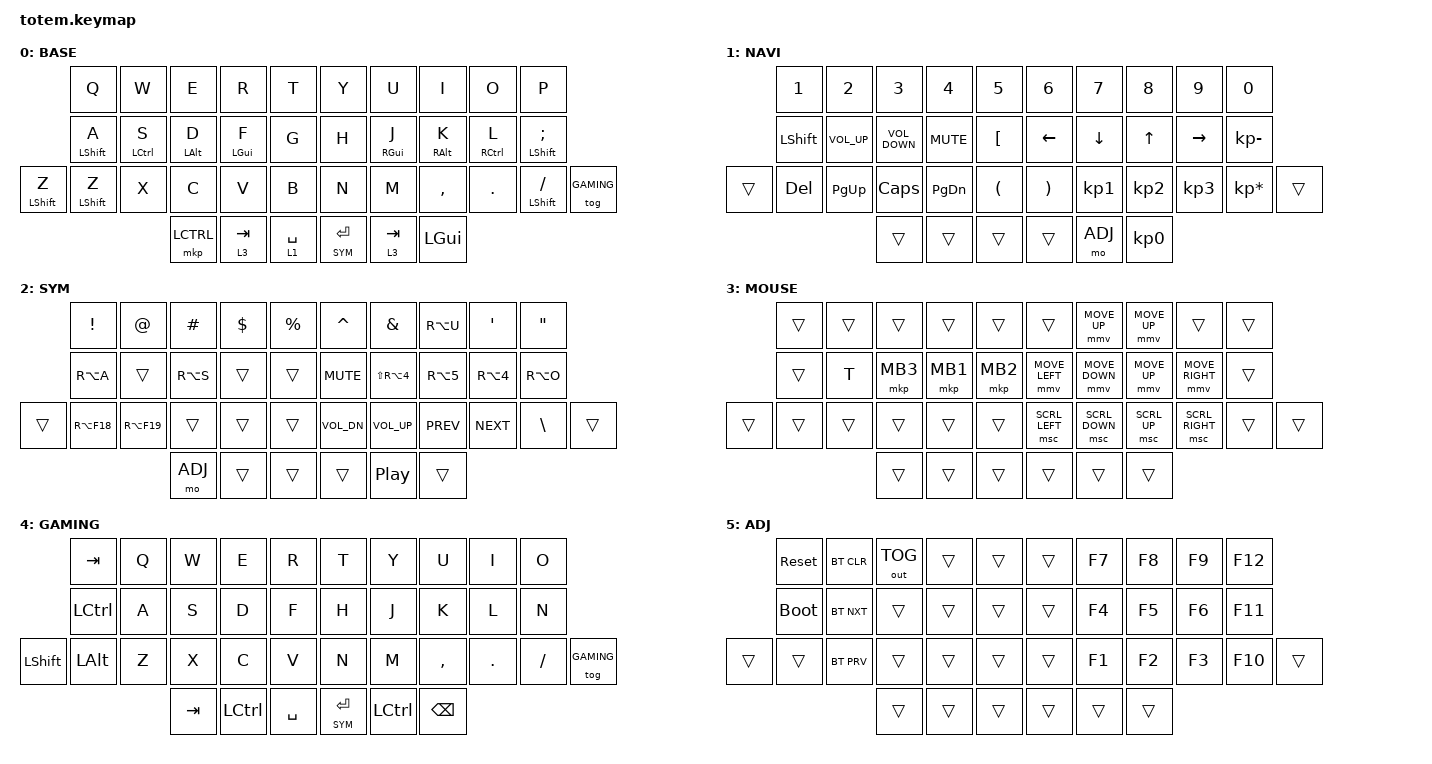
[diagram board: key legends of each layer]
//
//                                                        ▀▀▀▀▀     ▀▀▀▀▀          ▀▀█▀▀
//                                                        ▄▀▀▀▄  ▄  ▄▀▀▀▄  ▄  ▄▀▀▀▄  █  ▄▀▀▀▄
//                                                        █   █  █  █   █  █  █   █  █  █   █
//                                                         ▀▀▀   █   ▀▀▀   █   ▀▀▀   ▀   ▀▀▀
//                                                               █      ▄▄▄█▄▄▄    █   █  
//                                                               ▀      █  █  █     █▄█
//                                                             ▀▀▀▀▀    █  █  █      ▀
//                                                                      ▀  ▀  ▀
//
// ▄▄▄▄▄▄▄▄▄▄▄▄▄▄▄▄▄▄▄▄▄▄▄▄▄▄▄▄▄▄▄▄▄▄▄▄▄▄▄▄▄▄▄▄▄▄▄▄▄▄▄▄▄▄▄▄▄▄▄▄▄▄▄▄▄▄▄▄▄▄▄▄▄▄▄▄▄▄▄▄▄▄▄▄▄▄▄▄▄▄▄▄▄▄▄▄▄▄▄▄▄▄▄▄▄▄▄▄▄▄▄▄▄▄▄▄▄▄▄▄▄▄▄▄▄▄▄▄▄▄▄▄▄▄▄▄▄▄▄▄▄▄▄▄▄▄▄▄▄

#include <behaviors.dtsi>
#include <dt-bindings/zmk/bt.h>
#include <dt-bindings/zmk/keys.h>
#include <dt-bindings/zmk/outputs.h>


// mouse
#define ZMK_POINTING_DEFAULT_MOVE_VAL 600  // default: 600
#define ZMK_POINTING_DEFAULT_SCRL_VAL 20    // default: 10

#include <dt-bindings/zmk/pointing.h>




#define BASE 0
#define NAVI  1
#define SYM  2
#define MOUSE 3
#define GAMING 4
#define ADJ  5

&mt {
    flavor = "balanced";
    tapping-term-ms = <280>;
    quick-tap-ms = <175>;
    require-prior-idle-ms = <150>;
    // bindings = <&kp>, <&kp>;
};

&msc {
    acceleration-exponent = <1>;
};

&mmv {
    x-input-code = <INPUT_REL_X>;
    y-input-code = <INPUT_REL_Y>;
    time-to-max-speed-ms = <300>;
    acceleration-exponent = <1>;
};
// Number to build combo
//             ┏━━━━━━━━━━━┳━━━━━━━━━━━┳━━━━━━━━━━━┳━━━━━━━━━━━┳━━━━━━━━━━━┓   ┏━━━━━━━━━━━┳━━━━━━━━━━━┳━━━━━━━━━━━┳━━━━━━━━━━━┳━━━━━━━━━━━┓
//             ┃     0     ┃     1     ┃     2     ┃     3     ┃     4     ┃   ┃     5     ┃     6     ┃     7     ┃     8     ┃     9     ┃
//             ╋━━━━━━━━━━━╋━━━━━━━━━━━╋━━━━━━━━━━━╋━━━━━━━━━━━╋━━━━━━━━━━━┫   ┣━━━━━━━━━━━╋━━━━━━━━━━━╋━━━━━━━━━━━╋━━━━━━━━━━━╋━━━━━━━━━━━╋
//             ┃     10    ┃     11    ┃     12    ┃     13    ┃     14    ┃   ┃     15    ┃     16    ┃     17    ┃     18    ┃     19    ┃
// ┏━━━━━━━━━━━╋━━━━━━━━━━━╋━━━━━━━━━━━╋━━━━━━━━━━━╋━━━━━━━━━━━╋━━━━━━━━━━━┫   ┣━━━━━━━━━━━╋━━━━━━━━━━━╋━━━━━━━━━━━╋━━━━━━━━━━━╋━━━━━━━━━━━╋━━━━━━━━━━━┓
// ┃     20    ┃     21    ┃     22    ┃     23    ┃     24    ┃     25    ┃   ┃     26    ┃     27    ┃     28    ┃     29    ┃     30    ┃       31  ┃
// ┗━━━━━━━━━━━┻━━━━━━━━━━━┻━━━━━━━━━━━╋━━━━━━━━━━━╋━━━━━━━━━━━╋━━━━━━━━━━━┫   ┣━━━━━━━━━━━╋━━━━━━━━━━━╋━━━━━━━━━━━╋━━━━━━━━━━━┻━━━━━━━━━━━┻━━━━━━━━━━━┛
//                                     ┃     32    ┃     33    ┃     34    ┃   ┃     35    ┃     36    ┃     37    ┃
//                                     ┗━━━━━━━━━━━┻━━━━━━━━━━━┻━━━━━━━━━━━┛   ┗━━━━━━━━━━━┻━━━━━━━━━━━┻━━━━━━━━━━━┛
/ {
    combos {
        compatible = "zmk,combos";

        combo_tab {
            timeout-ms = <50>;
            key-positions = <11 13>;
            bindings = <&kp TAB>;
        };

        combo_minus {
            timeout-ms = <50>;
            key-positions = <23 24>;
            bindings = <&kp MINUS>;
        };
        combo_plus {
            timeout-ms = <50>;
            key-positions = <27 28>;
            bindings = <&kp EQUAL>;
        };
        combo_esc {
            timeout-ms = <50>;
            key-positions = <12 13>;
            bindings = <&kp ESC>;
        };

        combo_backspace {
            timeout-ms = <50>;
            key-positions = <16 17>;
            bindings = <&kp BSPC>;
        };
    };

    keymap {
        compatible = "zmk,keymap";

        // ▄▄▄▄▄▄▄▄▄▄▄▄▄▄▄▄▄▄▄▄▄▄▄▄▄▄▄▄▄▄▄▄▄▄▄▄▄▄▄▄▄▄▄▄▄▄▄▄▄▄▄▄▄▄▄▄▄▄▄▄▄▄▄▄▄▄▄▄▄▄▄▄▄▄▄▄▄▄▄▄▄▄▄▄▄▄▄▄▄▄▄▄▄▄▄▄▄▄▄▄▄▄▄▄▄▄▄▄▄▄▄▄▄▄▄▄▄▄▄▄▄▄▄▄▄▄▄▄▄▄▄▄▄▄▄▄▄▄▄▄▄▄▄▄▄▄▄▄▄

        base_layer {
            // ┏━━━━━━━━━━━━━━━━━━━━━━━━━━━━━━━━━━━━━━━┓
               label = "BASE"                          ;
            // ┗━━━━━━━━━━━━━━━━━━━━━━━━━━━━━━━━━━━━━━━┛
            //             ┏━━━━━━━━━━━┳━━━━━━━━━━━┳━━━━━━━━━━━┳━━━━━━━━━━━┳━━━━━━━━━━━┓   ┏━━━━━━━━━━━┳━━━━━━━━━━━┳━━━━━━━━━━━┳━━━━━━━━━━━┳━━━━━━━━━━━┓
            //             ┃     Q     ┃     W     ┃     E     ┃     R     ┃     T     ┃   ┃     Y     ┃     U     ┃     I     ┃     o     ┃     p     ┃
            //             ┣━━━━━━━━━━━╋━━━━━━━━━━━╋━━━━━━━━━━━╋━━━━━━━━━━━╋━━━━━━━━━━━┫   ┣━━━━━━━━━━━╋━━━━━━━━━━━╋━━━━━━━━━━━╋━━━━━━━━━━━╋━━━━━━━━━━━┫
            //             ┃     A     ┃     s     ┃     D     ┃     f     ┃     g     ┃   ┃     h     ┃     j     ┃     k     ┃     l     ┃     m     ┃
            // ┏━━━━━━━━━━━╋━━━━━━━━━━━╋━━━━━━━━━━━╋━━━━━━━━━━━╋━━━━━━━━━━━╋━━━━━━━━━━━┫   ┣━━━━━━━━━━━╋━━━━━━━━━━━╋━━━━━━━━━━━╋━━━━━━━━━━━╋━━━━━━━━━━━╋━━━━━━━━━━━┓
            // ┃     q     ┃     z     ┃     x     ┃     c     ┃     V     ┃     B     ┃   ┃     n     ┃     m     ┃     ,     ┃     .     ┃     /     ┃   GAM     ┃
            // ┗━━━━━━━━━━━┻━━━━━━━━━━━┻━━━━━━━━━━━╋━━━━━━━━━━━╋━━━━━━━━━━━╋━━━━━━━━━━━┫   ┣━━━━━━━━━━━╋━━━━━━━━━━━╋━━━━━━━━━━━╋━━━━━━━━━━━┻━━━━━━━━━━━┻━━━━━━━━━━━┛
            //                                     ┃           ┃    TAB    ┃    SPC    ┃   ┃   ENTER   ┃   BSPC    ┃           ┃
            //                                     ┗━━━━━━━━━━━┻━━━━━━━━━━━┻━━━━━━━━━━━┛   ┗━━━━━━━━━━━┻━━━━━━━━━━━┻━━━━━━━━━━━┛

            bindings = <
              &kp Q         &kp W       &kp E       &kp R       &kp T          &kp Y        &kp U       &kp I       &kp O       &kp P
              &mt LSHIFT A   &mt LCTRL S  &mt LALT D  &mt LGUI F  &kp G          &kp H        &mt RGUI J  &mt RALT K  &mt RCTRL L  &mt LSHIFT SEMI
&mt LSHIFT Z  &mt LSHIFT Z  &kp X       &kp C       &kp V       &kp B          &kp N        &kp M       &kp COMMA   &kp DOT     &mt LSHIFT FSLH  &tog GAMING
                                        &mkp LCTRL   &lt 3 TAB   &lt 1 SPACE    &lt SYM RET  &lt 3 TAB   &kp LGUI
            >;
        };

        // ▄▄▄▄▄▄▄▄▄▄▄▄▄▄▄▄▄▄▄▄▄▄▄▄▄▄▄▄▄▄▄▄▄▄▄▄▄▄▄▄▄▄▄▄▄▄▄▄▄▄▄▄▄▄▄▄▄▄▄▄▄▄▄▄▄▄▄▄▄▄▄▄▄▄▄▄▄▄▄▄▄▄▄▄▄▄▄▄▄▄▄▄▄▄▄▄▄▄▄▄▄▄▄▄▄▄▄▄▄▄▄▄▄▄▄▄▄▄▄▄▄▄▄▄▄▄▄▄▄▄▄▄▄▄▄▄▄▄▄▄▄▄▄▄▄▄▄▄▄

        navi_layer {
            // ┏━━━━━━━━━━━━━━━━━━━━━━━━━━━━━━━━━━━━━━━┓
               label = "NAVI"                          ;
            // ┗━━━━━━━━━━━━━━━━━━━━━━━━━━━━━━━━━━━━━━━┛
            //             ┏━━━━━━━━━━━┳━━━━━━━━━━━┳━━━━━━━━━━━┳━━━━━━━━━━━┳━━━━━━━━━━━┓   ┏━━━━━━━━━━━┳━━━━━━━━━━━┳━━━━━━━━━━━┳━━━━━━━━━━━┳━━━━━━━━━━━┓
            //             ┃           ┃           ┃     UP    ┃           ┃     {     ┃   ┃     }     ┃     7     ┃     8     ┃     9     ┃     +     ┃
            //             ┣━━━━━━━━━━━╋━━━━━━━━━━━╋━━━━━━━━━━━╋━━━━━━━━━━━╋━━━━━━━━━━━┫   ┣━━━━━━━━━━━╋━━━━━━━━━━━╋━━━━━━━━━━━╋━━━━━━━━━━━╋━━━━━━━━━━━┫
            //             ┃   SHIFT   ┃   LEFT    ┃    DOWN   ┃   RIGHT   ┃     [     ┃   ┃     ]     ┃     4     ┃     5     ┃     6     ┃     -     ┃
            // ┏━━━━━━━━━━━╋━━━━━━━━━━━╋━━━━━━━━━━━╋━━━━━━━━━━━╋━━━━━━━━━━━╋━━━━━━━━━━━┫   ┣━━━━━━━━━━━╋━━━━━━━━━━━╋━━━━━━━━━━━╋━━━━━━━━━━━╋━━━━━━━━━━━╋━━━━━━━━━━━┓
            // ┃           ┃           ┃   P UP    ┃  C LOCK   ┃  P DOWN   ┃     (     ┃   ┃     )     ┃     1     ┃     2     ┃     3     ┃     *     ┃           ┃
            // ┗━━━━━━━━━━━┻━━━━━━━━━━━┻━━━━━━━━━━━╋━━━━━━━━━━━╋━━━━━━━━━━━╋━━━━━━━━━━━┫   ┣━━━━━━━━━━━╋━━━━━━━━━━━╋━━━━━━━━━━━╋━━━━━━━━━━━┻━━━━━━━━━━━┻━━━━━━━━━━━┛
            //                                     ┃           ┃    TAB    ┃    SPC    ┃   ┃    DEL    ┃     0     ┃           ┃
            //                                     ┗━━━━━━━━━━━┻━━━━━━━━━━━┻━━━━━━━━━━━┛   ┗━━━━━━━━━━━┻━━━━━━━━━━━┻━━━━━━━━━━━┛

            bindings = <
        &kp NUMBER_1  &kp NUMBER_2     &kp NUMBER_3       &kp NUMBER_4  &kp NUMBER_5    &kp NUMBER_6  &kp N7     &kp N8        &kp N9     &kp N0
        &kp LSHFT     &kp C_VOLUME_UP  &kp C_VOLUME_DOWN  &kp C_MUTE    &kp LBKT        &kp LEFT      &kp DOWN   &kp UP_ARROW  &kp RIGHT  &kp KP_MINUS
&trans  &kp DEL       &kp PG_UP        &kp CAPS           &kp PG_DN     &kp LPAR        &kp RPAR      &kp KP_N1  &kp KP_N2     &kp KP_N3  &kp KP_MULTIPLY  &trans
                                       &trans             &trans        &trans          &trans   &mo ADJ    &kp KP_N0 
            >;
        };

        // ▄▄▄▄▄▄▄▄▄▄▄▄▄▄▄▄▄▄▄▄▄▄▄▄▄▄▄▄▄▄▄▄▄▄▄▄▄▄▄▄▄▄▄▄▄▄▄▄▄▄▄▄▄▄▄▄▄▄▄▄▄▄▄▄▄▄▄▄▄▄▄▄▄▄▄▄▄▄▄▄▄▄▄▄▄▄▄▄▄▄▄▄▄▄▄▄▄▄▄▄▄▄▄▄▄▄▄▄▄▄▄▄▄▄▄▄▄▄▄▄▄▄▄▄▄▄▄▄▄▄▄▄▄▄▄▄▄▄▄▄▄▄▄▄▄▄▄▄▄

        sim_layer {
            // ┏━━━━━━━━━━━━━━━━━━━━━━━━━━━━━━━━━━━━━━━┓
               label = "SYM"                           ;
            // ┗━━━━━━━━━━━━━━━━━━━━━━━━━━━━━━━━━━━━━━━┛
            //             ┏━━━━━━━━━━━┳━━━━━━━━━━━┳━━━━━━━━━━━┳━━━━━━━━━━━┳━━━━━━━━━━━┓   ┏━━━━━━━━━━━┳━━━━━━━━━━━┳━━━━━━━━━━━┳━━━━━━━━━━━┳━━━━━━━━━━━┓
            //             ┃     !     ┃     @     ┃     #     ┃     $     ┃     %     ┃   ┃     ˆ     ┃     &     ┃     Ü     ┃     '     ┃     "     ┃
            //             ┣━━━━━━━━━━━╋━━━━━━━━━━━╋━━━━━━━━━━━╋━━━━━━━━━━━╋━━━━━━━━━━━┫   ┣━━━━━━━━━━━╋━━━━━━━━━━━╋━━━━━━━━━━━╋━━━━━━━━━━━╋━━━━━━━━━━━┫
            //             ┃     Ä     ┃           ┃    SZ     ┃           ┃           ┃   ┃   MUTE    ┃   YEN     ┃   EURO    ┃  POUND    ┃     Ö     ┃
            // ┏━━━━━━━━━━━╋━━━━━━━━━━━╋━━━━━━━━━━━╋━━━━━━━━━━━╋━━━━━━━━━━━╋━━━━━━━━━━━┫   ┣━━━━━━━━━━━╋━━━━━━━━━━━╋━━━━━━━━━━━╋━━━━━━━━━━━╋━━━━━━━━━━━╋━━━━━━━━━━━┓
            // ┃           ┃  EMAIL1   ┃  EMAIL2   ┃           ┃           ┃           ┃   ┃   VOL-    ┃   VOL+    ┃   LAST    ┃   NEXT    ┃     \     ┃           ┃
            // ┗━━━━━━━━━━━┻━━━━━━━━━━━┻━━━━━━━━━━━╋━━━━━━━━━━━╋━━━━━━━━━━━╋━━━━━━━━━━━┫   ┣━━━━━━━━━━━╋━━━━━━━━━━━╋━━━━━━━━━━━╋━━━━━━━━━━━┻━━━━━━━━━━━┻━━━━━━━━━━━┛
            //                                     ┃           ┃    GIF    ┃    ADJ    ┃   ┃           ┃           ┃           ┃
            //                                     ┗━━━━━━━━━━━┻━━━━━━━━━━━┻━━━━━━━━━━━┛   ┗━━━━━━━━━━━┻━━━━━━━━━━━┻━━━━━━━━━━━┛

            bindings = <
        &kp EXCL     &kp AT       &kp HASH   &kp DLLR  &kp PRCNT    &kp CARET     &kp AMPS        &kp RA(U)   &kp SQT     &kp DQT
        &kp RA(A)    &trans       &kp RA(S)  &trans    &trans       &kp C_MUTE    &kp LS(RA(N4))  &kp RA(N5)  &kp RA(N4)  &kp RA(O)
&trans  &kp RA(F18)  &kp RA(F19)  &trans     &trans    &trans       &kp C_VOL_DN  &kp C_VOL_UP    &kp C_PREV  &kp C_NEXT  &kp BSLH   &trans
                                  &mo ADJ    &trans    &trans       &trans        &kp C_PP        &trans
            >;
        };

        // ▄▄▄▄▄▄▄▄▄▄▄▄▄▄▄▄▄▄▄▄▄▄▄▄▄▄▄▄▄▄▄▄▄▄▄▄▄▄▄▄▄▄▄▄▄▄▄▄▄▄▄▄▄▄▄▄▄▄▄▄▄▄▄▄▄▄▄▄▄▄▄▄▄▄▄▄▄▄▄▄▄▄▄▄▄▄▄▄▄▄▄▄▄▄▄▄▄▄▄▄▄▄▄▄▄▄▄▄▄▄▄▄▄▄▄▄▄▄▄▄▄▄▄▄▄▄▄▄▄▄▄▄▄▄▄▄▄▄▄▄▄▄▄▄▄▄▄▄▄

        mouse_layer {
            // ┏━━━━━━━━━━━━━━━━━━━━━━━━━━━━━━━━━━━━━━━┓
               label = "MOUSE"                         ;
            // ┗━━━━━━━━━━━━━━━━━━━━━━━━━━━━━━━━━━━━━━━┛
            //             ┏━━━━━━━━━━━┳━━━━━━━━━━━┳━━━━━━━━━━━┳━━━━━━━━━━━┳━━━━━━━━━━━┓   ┏━━━━━━━━━━━┳━━━━━━━━━━━┳━━━━━━━━━━━┳━━━━━━━━━━━┳━━━━━━━━━━━┓
            //             ┃           ┃           ┃           ┃           ┃           ┃   ┃           ┃           ┃           ┃           ┃           ┃
            //             ┣━━━━━━━━━━━╋━━━━━━━━━━━╋━━━━━━━━━━━╋━━━━━━━━━━━╋━━━━━━━━━━━┫   ┣━━━━━━━━━━━╋━━━━━━━━━━━╋━━━━━━━━━━━╋━━━━━━━━━━━╋━━━━━━━━━━━┫
            //             ┃           ┃           ┃           ┃           ┃           ┃   ┃           ┃           ┃           ┃           ┃           ┃
            // ┏━━━━━━━━━━━╋━━━━━━━━━━━╋━━━━━━━━━━━╋━━━━━━━━━━━╋━━━━━━━━━━━╋━━━━━━━━━━━┫   ┣━━━━━━━━━━━╋━━━━━━━━━━━╋━━━━━━━━━━━╋━━━━━━━━━━━╋━━━━━━━━━━━╋━━━━━━━━━━━┓
            // ┃           ┃           ┃           ┃           ┃           ┃           ┃   ┃           ┃           ┃           ┃           ┃           ┃           ┃
            // ┗━━━━━━━━━━━┻━━━━━━━━━━━┻━━━━━━━━━━━╋━━━━━━━━━━━╋━━━━━━━━━━━╋━━━━━━━━━━━┫   ┣━━━━━━━━━━━╋━━━━━━━━━━━╋━━━━━━━━━━━╋━━━━━━━━━━━┻━━━━━━━━━━━┻━━━━━━━━━━━┛
            //                                     ┃           ┃           ┃           ┃   ┃           ┃           ┃           ┃
            //                                     ┗━━━━━━━━━━━┻━━━━━━━━━━━┻━━━━━━━━━━━┛   ┗━━━━━━━━━━━┻━━━━━━━━━━━┻━━━━━━━━━━━┛

            bindings = <
        &trans  &trans  &trans    &trans    &trans      &trans          &mmv MOVE_UP    &mmv MOVE_UP  &trans           &trans
        &trans  &kp T   &mkp MB3  &mkp MB1  &mkp MB2    &mmv MOVE_LEFT  &mmv MOVE_DOWN  &mmv MOVE_UP  &mmv MOVE_RIGHT  &trans
&trans  &trans  &trans  &trans    &trans    &trans      &msc SCRL_LEFT  &msc SCRL_DOWN  &msc SCRL_UP  &msc SCRL_RIGHT  &trans  &trans
                        &trans    &trans    &trans      &trans          &trans          &trans
            >;
        };

        // ▄▄▄▄▄▄▄▄▄▄▄▄▄▄▄▄▄▄▄▄▄▄▄▄▄▄▄▄▄▄▄▄▄▄▄▄▄▄▄▄▄▄▄▄▄▄▄▄▄▄▄▄▄▄▄▄▄▄▄▄▄▄▄▄▄▄▄▄▄▄▄▄▄▄▄▄▄▄▄▄▄▄▄▄▄▄▄▄▄▄▄▄▄▄▄▄▄▄▄▄▄▄▄▄▄▄▄▄▄▄▄▄▄▄▄▄▄▄▄▄▄▄▄▄▄▄▄▄▄▄▄▄▄▄▄▄▄▄▄▄▄▄▄▄▄▄▄▄▄

        gaming_layer {
            // ┏━━━━━━━━━━━━━━━━━━━━━━━━━━━━━━━━━━━━━━━┓
               label = "GAMING"                        ;
            // ┗━━━━━━━━━━━━━━━━━━━━━━━━━━━━━━━━━━━━━━━┛
            //             ┏━━━━━━━━━━━┳━━━━━━━━━━━┳━━━━━━━━━━━┳━━━━━━━━━━━┳━━━━━━━━━━━┓   ┏━━━━━━━━━━━┳━━━━━━━━━━━┳━━━━━━━━━━━┳━━━━━━━━━━━┳━━━━━━━━━━━┓
            //             ┃           ┃           ┃           ┃           ┃           ┃   ┃           ┃           ┃           ┃           ┃           ┃
            //             ┣━━━━━━━━━━━╋━━━━━━━━━━━╋━━━━━━━━━━━╋━━━━━━━━━━━╋━━━━━━━━━━━┫   ┣━━━━━━━━━━━╋━━━━━━━━━━━╋━━━━━━━━━━━╋━━━━━━━━━━━╋━━━━━━━━━━━┫
            //             ┃           ┃           ┃           ┃           ┃           ┃   ┃           ┃           ┃           ┃           ┃           ┃
            // ┏━━━━━━━━━━━╋━━━━━━━━━━━╋━━━━━━━━━━━╋━━━━━━━━━━━╋━━━━━━━━━━━╋━━━━━━━━━━━┫   ┣━━━━━━━━━━━╋━━━━━━━━━━━╋━━━━━━━━━━━╋━━━━━━━━━━━╋━━━━━━━━━━━╋━━━━━━━━━━━┓
            // ┃           ┃           ┃           ┃           ┃           ┃           ┃   ┃           ┃           ┃           ┃           ┃           ┃           ┃
            // ┗━━━━━━━━━━━┻━━━━━━━━━━━┻━━━━━━━━━━━╋━━━━━━━━━━━╋━━━━━━━━━━━╋━━━━━━━━━━━┫   ┣━━━━━━━━━━━╋━━━━━━━━━━━╋━━━━━━━━━━━╋━━━━━━━━━━━┻━━━━━━━━━━━┻━━━━━━━━━━━┛
            //                                     ┃           ┃           ┃           ┃   ┃           ┃           ┃           ┃
            //                                     ┗━━━━━━━━━━━┻━━━━━━━━━━━┻━━━━━━━━━━━┛   ┗━━━━━━━━━━━┻━━━━━━━━━━━┻━━━━━━━━━━━┛

            bindings = <
            &kp TAB           &kp Q  &kp W    &kp E      &kp R             &kp T        &kp Y             &kp U      &kp I    &kp O
            &kp LEFT_CONTROL  &kp A  &kp S    &kp D      &kp F             &kp H        &kp J             &kp K      &kp L    &kp N
&kp LSHIFT  &kp LEFT_ALT      &kp Z  &kp X    &kp C      &kp V             &kp N        &kp M             &kp COMMA  &kp DOT  &kp SLASH  &tog GAMING
                                     &kp TAB  &kp LCTRL  &kp SPACE    &lt SYM RET  &kp LEFT_CONTROL  &kp BSPC
            >;
        };

        // ▄▄▄▄▄▄▄▄▄▄▄▄▄▄▄▄▄▄▄▄▄▄▄▄▄▄▄▄▄▄▄▄▄▄▄▄▄▄▄▄▄▄▄▄▄▄▄▄▄▄▄▄▄▄▄▄▄▄▄▄▄▄▄▄▄▄▄▄▄▄▄▄▄▄▄▄▄▄▄▄▄▄▄▄▄▄▄▄▄▄▄▄▄▄▄▄▄▄▄▄▄▄▄▄▄▄▄▄▄▄▄▄▄▄▄▄▄▄▄▄▄▄▄▄▄▄▄▄▄▄▄▄▄▄▄▄▄▄▄▄▄▄▄▄▄▄▄▄▄

        adjust_layer {
            // ┏━━━━━━━━━━━━━━━━━━━━━━━━━━━━━━━━━━━━━━━┓
               label = "ADJ"                           ;
            // ┗━━━━━━━━━━━━━━━━━━━━━━━━━━━━━━━━━━━━━━━┛
            //             ┏━━━━━━━━━━━┳━━━━━━━━━━━┳━━━━━━━━━━━┳━━━━━━━━━━━┳━━━━━━━━━━━┓   ┏━━━━━━━━━━━┳━━━━━━━━━━━┳━━━━━━━━━━━┳━━━━━━━━━━━┳━━━━━━━━━━━┓
            //             ┃   RESET   ┃           ┃  OUT TOG  ┃           ┃           ┃   ┃           ┃    F7     ┃    F8     ┃    F9     ┃    F12    ┃
            //             ┣━━━━━━━━━━━╋━━━━━━━━━━━╋━━━━━━━━━━━╋━━━━━━━━━━━╋━━━━━━━━━━━┫   ┣━━━━━━━━━━━╋━━━━━━━━━━━╋━━━━━━━━━━━╋━━━━━━━━━━━╋━━━━━━━━━━━┫
            //             ┃ BOOTLOAD  ┃ BT NEXT   ┃           ┃           ┃           ┃   ┃           ┃    F4     ┃    F5     ┃    F6     ┃    F11    ┃
            // ┏━━━━━━━━━━━╋━━━━━━━━━━━╋━━━━━━━━━━━╋━━━━━━━━━━━╋━━━━━━━━━━━╋━━━━━━━━━━━┫   ┣━━━━━━━━━━━╋━━━━━━━━━━━╋━━━━━━━━━━━╋━━━━━━━━━━━╋━━━━━━━━━━━╋━━━━━━━━━━━┓
            // ┃           ┃           ┃ BT PREV   ┃           ┃           ┃           ┃   ┃           ┃    F1     ┃    F2     ┃    F3     ┃    F10    ┃           ┃
            // ┗━━━━━━━━━━━┻━━━━━━━━━━━┻━━━━━━━━━━━╋━━━━━━━━━━━╋━━━━━━━━━━━╋━━━━━━━━━━━┫   ┣━━━━━━━━━━━╋━━━━━━━━━━━╋━━━━━━━━━━━╋━━━━━━━━━━━┻━━━━━━━━━━━┻━━━━━━━━━━━┛
            //                                     ┃           ┃           ┃           ┃   ┃           ┃           ┃ BT CLEAR ┃
            //                                     ┗━━━━━━━━━━━┻━━━━━━━━━━━┻━━━━━━━━━━━┛   ┗━━━━━━━━━━━┻━━━━━━━━━━━┻━━━━━━━━━━━┛

            bindings = <
        &sys_reset   &bt BT_CLR  &out OUT_TOG  &trans  &trans       &trans  &kp F7  &kp F8  &kp F9  &kp F12
        &bootloader  &bt BT_NXT  &trans        &trans  &trans       &trans  &kp F4  &kp F5  &kp F6  &kp F11
&trans  &trans       &bt BT_PRV  &trans        &trans  &trans       &trans  &kp F1  &kp F2  &kp F3  &kp F10  &trans
                                 &trans        &trans  &trans       &trans  &trans  &trans
            >;
        };
    };

};
